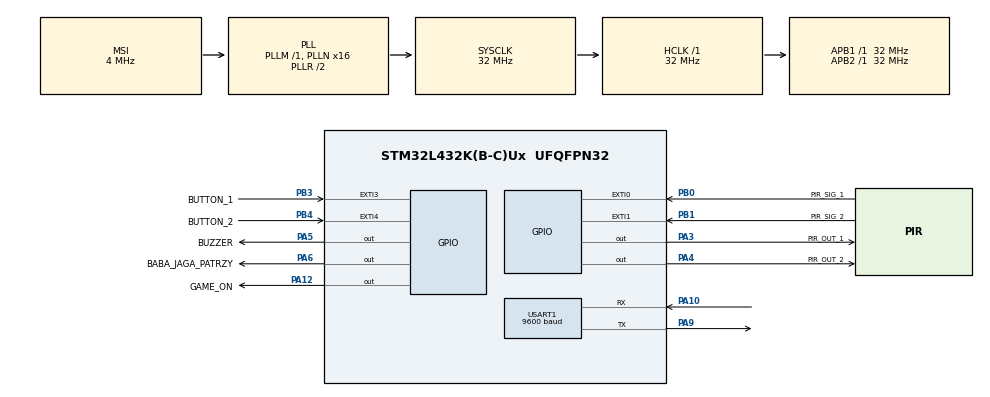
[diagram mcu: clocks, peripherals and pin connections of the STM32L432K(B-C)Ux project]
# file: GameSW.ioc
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Mcu.Family=STM32L4
Mcu.Name=STM32L432K(B-C)Ux
Mcu.Package=UFQFPN32
NVIC.EXTI0_IRQn=true\:0\:0\:false\:false\:true\:true\:true\:true
NVIC.EXTI1_IRQn=true\:0\:0\:false\:false\:true\:true\:true\:true
NVIC.EXTI3_IRQn=true\:0\:0\:false\:false\:true\:true\:true\:true
NVIC.EXTI4_IRQn=true\:0\:0\:false\:false\:true\:true\:true\:true
NVIC.PriorityGroup=NVIC_PRIORITYGROUP_4
PA0.GPIO_Label=MCO [High speed clock in]
PA0.Mode=HSE-External-Clock-Source-for-LittleOrca
PA0.Signal=RCC_CK_IN
PA10.Mode=Asynchronous
PA10.Signal=USART1_RX
PA12.GPIO_Label=GAME_ON
PA12.Signal=GPIO_Output
PA13\ (JTMS-SWDIO).GPIO_Label=SWDIO
PA13\ (JTMS-SWDIO).Mode=Serial_Wire
PA13\ (JTMS-SWDIO).Signal=SYS_JTMS-SWDIO
PA14\ (JTCK-SWCLK).GPIO_Label=SWCLK
PA14\ (JTCK-SWCLK).Mode=Serial_Wire
PA14\ (JTCK-SWCLK).Signal=SYS_JTCK-SWCLK
PA15\ (JTDI).GPIO_Label=VCP_RX
PA15\ (JTDI).Signal=USART2_RX
PA2.GPIO_Label=VCP_TX
PA2.Signal=USART2_TX
PA3.GPIO_Label=PIR_OUT_1
PA3.Signal=GPIO_Output
PA4.GPIO_Label=PIR_OUT_2
PA4.Signal=GPIO_Output
PA5.GPIO_Label=BUZZER
PA5.Signal=GPIO_Output
PA6.GPIO_Label=BABA_JAGA_PATRZY
PA6.Signal=GPIO_Output
PA9.Mode=Asynchronous
PA9.Signal=USART1_TX
PB0.GPIO_Label=PIR_SIG_1
PB0.Signal=GPXTI0
PB1.GPIO_Label=PIR_SIG_2
PB1.Signal=GPXTI1
PB3\ (JTDO-TRACESWO).GPIO_Label=BUTTON_1
PB3\ (JTDO-TRACESWO).Signal=GPXTI3
PB4\ (NJTRST).GPIO_Label=BUTTON_2
PB4\ (NJTRST).Signal=GPXTI4
PC14-OSC32_IN\ (PC14).Mode=LSE-External-Oscillator
PC14-OSC32_IN\ (PC14).Signal=RCC_OSC32_IN
PC15-OSC32_OUT\ (PC15).Mode=LSE-External-Oscillator
PC15-OSC32_OUT\ (PC15).Signal=RCC_OSC32_OUT
ProjectManager.HeapSize=0x200
ProjectManager.StackSize=0x400
ProjectManager.TargetToolchain=STM32CubeIDE
RCC.AHBFreq_Value=32000000
RCC.APB1Freq_Value=32000000
RCC.APB1TimFreq_Value=32000000
RCC.APB2Freq_Value=32000000
RCC.APB2TimFreq_Value=32000000
RCC.CortexFreq_Value=32000000
RCC.HCLKFreq_Value=32000000
RCC.HSE_VALUE=8000000
RCC.HSI16_VALUE=16000000
RCC.HSI48_VALUE=48000000
RCC.HSI_VALUE=16000000
RCC.MSI_VALUE=4000000
RCC.PLLMUL=RCC_PLLMUL_4
RCC.PLLN=16
RCC.SYSCLKFreq_VALUE=32000000
RCC.SYSCLKSource=RCC_SYSCLKSOURCE_PLLCLK
RCC.VCOOutputFreq_Value=64000000
USART1.BaudRate=9600
USART1.VirtualMode-Asynchronous=VM_ASYNC
board=NUCLEO-L432KC

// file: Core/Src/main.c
/* USER CODE BEGIN Header */
/**
  ******************************************************************************
  * @file           : main.c
  * @brief          : Main program body
  ******************************************************************************
  * @attention
  *
  * Copyright (c) 2022 STMicroelectronics.
  * All rights reserved.
  *
  * This software is licensed under terms that can be found in the LICENSE file
  * in the root directory of this software component.
  * If no LICENSE file comes with this software, it is provided AS-IS.
  *
  ******************************************************************************
  */
/* USER CODE END Header */
#include "main.h"
#include "usart.h"
#include "gpio.h"

/* USER CODE BEGIN Includes */
#include "player.h"
#include "debug_settings.h"
#include "game_if.h"
#include <string.h>
/* USER CODE END Includes */

/* USER CODE BEGIN PD */
#define START ('A')
#define STOP ('B')
#define BABA_JAGA_PATRZY ('C')
#define BABA_JAGA_NIE_PATRZY ('D')
/* USER CODE END PD */

/* USER CODE BEGIN PV */
extern struct Player player_one;
extern struct Player player_two;

/* USER CODE END PV */

void SystemClock_Config(void);

int main(void)
{
  /* USER CODE BEGIN 1 */
    NVIC_DisableIRQ(EXTI0_IRQn);
	NVIC_DisableIRQ(EXTI1_IRQn);
	NVIC_DisableIRQ(EXTI4_IRQn);
	NVIC_DisableIRQ(EXTI3_IRQn);
  /* USER CODE END 1 */

  /* MCU Configuration--------------------------------------------------------*/

  /* Reset of all peripherals, Initializes the Flash interface and the Systick. */
  HAL_Init();

  /* Configure the system clock */
  SystemClock_Config();

  /* Initialize all configured peripherals */
  MX_GPIO_Init();
  MX_USART1_UART_Init();
  /* USER CODE BEGIN 2 */
  int players_movement_allowed = 1;
  uint8_t message = '0';

  /* USER CODE END 2 */

  /* Infinite loop */
  /* USER CODE BEGIN WHILE */
  while (1)
  {
	  HAL_UART_Receive(&huart1, &message, 1, 150);

	  switch (message)
	  {
	  case START:
		  game_init();
		  players_movement_allowed = 1;
		  message = BABA_JAGA_NIE_PATRZY;
		  break;
	  case STOP:
		  end_game();
		  message = 0x00;
		  break;
	  case BABA_JAGA_PATRZY:
		  NVIC_EnableIRQ(EXTI0_IRQn);
		  NVIC_EnableIRQ(EXTI1_IRQn);
		  players_movement_allowed = 0;
		  message = 0x00;
		  break;
	  case BABA_JAGA_NIE_PATRZY:
		  NVIC_DisableIRQ(EXTI0_IRQn);
		  NVIC_DisableIRQ(EXTI1_IRQn);
		  players_movement_allowed = 1;
		  message = 0x00;
		  break;
	  default:
		  message = 0x00;
		  break;
	  }
	  if (players_movement_allowed == 0)
	  {
		  HAL_GPIO_WritePin(BABA_JAGA_PATRZY_GPIO_Port, BABA_JAGA_PATRZY_Pin, 1);

	  }
	  else
	  {
		  HAL_GPIO_WritePin(BABA_JAGA_PATRZY_GPIO_Port, BABA_JAGA_PATRZY_Pin, 0);
	  }
	  if (player_two.score == 1)
	  {
		  // Player 1 wins
		  HAL_GPIO_WritePin(PIR_OUT_1_GPIO_Port, PIR_OUT_1_Pin, 1);
		  HAL_GPIO_WritePin(BUZZER_GPIO_Port, BUZZER_Pin, 1);
		  HAL_Delay(2000);
		  players_movement_allowed = 1;
		  end_game();
		 }
	  else if (player_one.score == 1)
	  {
		  // Player 2 wins
		  HAL_GPIO_WritePin(PIR_OUT_2_GPIO_Port, PIR_OUT_2_Pin, 1);
		  HAL_GPIO_WritePin(BUZZER_GPIO_Port, BUZZER_Pin, 1);
		  HAL_Delay(2000);
		  players_movement_allowed = 1;
		  end_game();
	  }
    /* USER CODE END WHILE */

  }
}

void SystemClock_Config(void)
{
  RCC_OscInitTypeDef RCC_OscInitStruct = {0};
  RCC_ClkInitTypeDef RCC_ClkInitStruct = {0};

  /** Configure the main internal regulator output voltage
  */
  if (HAL_PWREx_ControlVoltageScaling(PWR_REGULATOR_VOLTAGE_SCALE1) != HAL_OK)
  {
    Error_Handler();
  }

  /** Configure LSE Drive Capability
  */
  HAL_PWR_EnableBkUpAccess();
  __HAL_RCC_LSEDRIVE_CONFIG(RCC_LSEDRIVE_LOW);

  /** Initializes the RCC Oscillators according to the specified parameters
  * in the RCC_OscInitTypeDef structure.
  */
  RCC_OscInitStruct.OscillatorType = RCC_OSCILLATORTYPE_LSE|RCC_OSCILLATORTYPE_MSI;
  RCC_OscInitStruct.LSEState = RCC_LSE_ON;
  RCC_OscInitStruct.MSIState = RCC_MSI_ON;
  RCC_OscInitStruct.MSICalibrationValue = 0;
  RCC_OscInitStruct.MSIClockRange = RCC_MSIRANGE_6;
  RCC_OscInitStruct.PLL.PLLState = RCC_PLL_ON;
  RCC_OscInitStruct.PLL.PLLSource = RCC_PLLSOURCE_MSI;
  RCC_OscInitStruct.PLL.PLLM = 1;
  RCC_OscInitStruct.PLL.PLLN = 16;
  RCC_OscInitStruct.PLL.PLLP = RCC_PLLP_DIV7;
  RCC_OscInitStruct.PLL.PLLQ = RCC_PLLQ_DIV2;
  RCC_OscInitStruct.PLL.PLLR = RCC_PLLR_DIV2;
  if (HAL_RCC_OscConfig(&RCC_OscInitStruct) != HAL_OK)
  {
    Error_Handler();
  }

  /** Initializes the CPU, AHB and APB buses clocks
  */
  RCC_ClkInitStruct.ClockType = RCC_CLOCKTYPE_HCLK|RCC_CLOCKTYPE_SYSCLK
                              |RCC_CLOCKTYPE_PCLK1|RCC_CLOCKTYPE_PCLK2;
  RCC_ClkInitStruct.SYSCLKSource = RCC_SYSCLKSOURCE_PLLCLK;
  RCC_ClkInitStruct.AHBCLKDivider = RCC_SYSCLK_DIV1;
  RCC_ClkInitStruct.APB1CLKDivider = RCC_HCLK_DIV1;
  RCC_ClkInitStruct.APB2CLKDivider = RCC_HCLK_DIV1;

  if (HAL_RCC_ClockConfig(&RCC_ClkInitStruct, FLASH_LATENCY_1) != HAL_OK)
  {
    Error_Handler();
  }

  /** Enable MSI Auto calibration
  */
  HAL_RCCEx_EnableMSIPLLMode();
}

void Error_Handler(void)
{
  __disable_irq();
  while (1)
  {
  }
}
